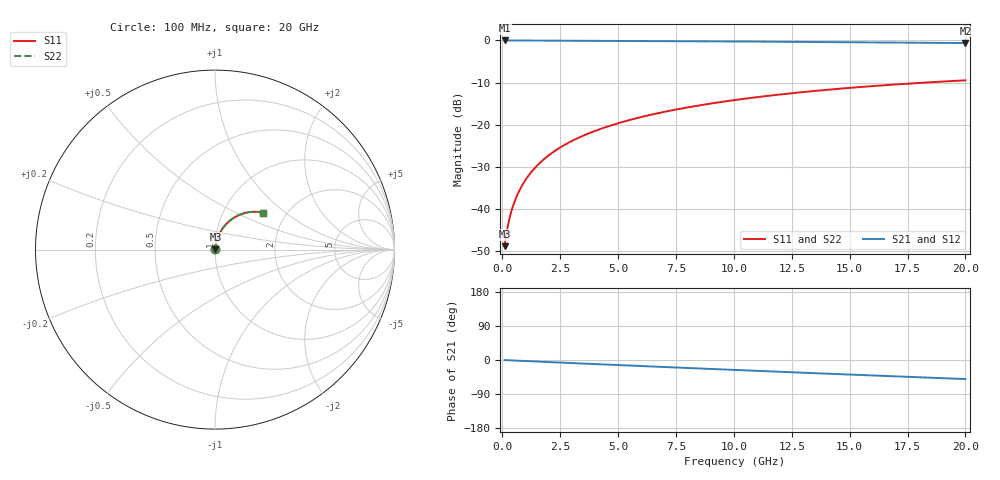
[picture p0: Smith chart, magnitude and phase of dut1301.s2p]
! Touchstone file exported from HFSS 2026.1.0
!  File:  C:/ffzhzh/LocalFiles/Ansys_Project_Files/temp_train_BSMRDL_1301_1783178187_51560.aedt
!  Generated:  11:17:46 PM Jul  4, 2026
!  Design:  BSMRDL
!  Project:  temp_train_BSMRDL_1301_1783178187_51560
! Variables:
!  h_bsmrdl = 4.78um
!  h_ox = 20um
!  h_rdl = 5um
!  h_sub = 80um
!  h_tmrdl = 5um
!  h_tsv = 80um
!  h_via = 3um
!  l_bsmrdl = 817.5um
!  l_sub = 1217.5um
!  l_tmrdl = 200um
!  m_sub = 200um
!  pitch = 44.29um
!  r_tsv = 6um
!  s_tmrdl = 10um
!  w_bsmrdl = 25um
!  w_sub = 500um
!  w_tmrdl = 12um
!  x_tsv_center1 = 206um
!  x_tsv_center2 = 1048.5um
!  x_tsv_center3 = 1260.5um
!  x_tsv_center4 = 2103um
!  x_tsv_center5 = 2315um
!  x_tsv_center6 = 3157.5um
# GHz S MA R 50.000000
! Terminal data exported
! Port[1] = BSM_RDL1_1_T1
! Port[2] = BSM_RDL1_1_T2
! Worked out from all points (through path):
!   200 points, 100 MHz to 20 GHz, reference 50 ohm
!   highest |S21| = -0.02 dB at 100 MHz (marker M1); lowest = -0.6 dB at 20 GHz (marker M2)
!   group delay of S21, straight-line fit = 6.97 ps
!   lowest |S11| = -48.8 dB at 100 MHz (marker M3), VSWR 1.01, Z = 50.3 + j0.249 ohm
!   |S11| at or under -10 dB: start of sweep to 18.27 GHz
!   |S22| runs from -48.8 to -9.5 dB; largest |S21 - S12| = 1e-14
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0.1  0.003641 42.9  0.9973 -0.3  0.9973 -0.3  0.003641 42.9
! Gamma 0 0 0 0
! Port Impedance 50 0 50 0
0.2  0.00559 58.2  0.9971 -0.6  0.9971 -0.6  0.00559 58.2
0.3  0.007598 65.2  0.9969 -0.8  0.9969 -0.8  0.007598 65.2
0.4  0.009622 69.4  0.9968 -1.1  0.9968 -1.1  0.009622 69.4
0.5  0.01167 72.2  0.9966 -1.4  0.9966 -1.4  0.01167 72.2
0.6  0.01374 74.2  0.9966 -1.6  0.9966 -1.6  0.01374 74.2
0.8  0.01793 76.6  0.9964 -2.2  0.9964 -2.2  0.01793 76.6
1.1  0.02427 78.4  0.9961 -3.0  0.9961 -3.0  0.02427 78.4
1.5  0.03276 79.1  0.9956 -4.1  0.9956 -4.1  0.03276 79.1
1.8  0.03911 79.1  0.9951 -4.9  0.9951 -4.9  0.03911 79.1
2.1  0.04543 78.8  0.9946 -5.7  0.9946 -5.7  0.04543 78.8
2.7  0.05794 77.9  0.9934 -7.3  0.9934 -7.3  0.05794 77.9
3.5  0.07433 76.2  0.9916 -9.4  0.9916 -9.4  0.07434 76.2
4.2  0.0884 74.6  0.9898 -11.3  0.9898 -11.3  0.0884 74.6
5  0.1042 72.8  0.9876 -13.4  0.9876 -13.4  0.1042 72.8
5.9  0.1215 70.7  0.9849 -15.7  0.9849 -15.7  0.1215 70.6
6.8  0.1384 68.5  0.982 -18.0  0.982 -18.0  0.1384 68.5
8.3  0.1658 64.9  0.9768 -21.9  0.9768 -21.9  0.1658 64.9
10.1  0.1972 60.7  0.9702 -26.4  0.9702 -26.4  0.1972 60.6
13.4  0.2502 52.9  0.9568 -34.6  0.9568 -34.6  0.2502 52.8
16.7  0.2966 45.2  0.9428 -42.5  0.9428 -42.5  0.2966 45.2
20  0.336 37.7  0.9291 -50.3  0.9291 -50.3  0.336 37.7
